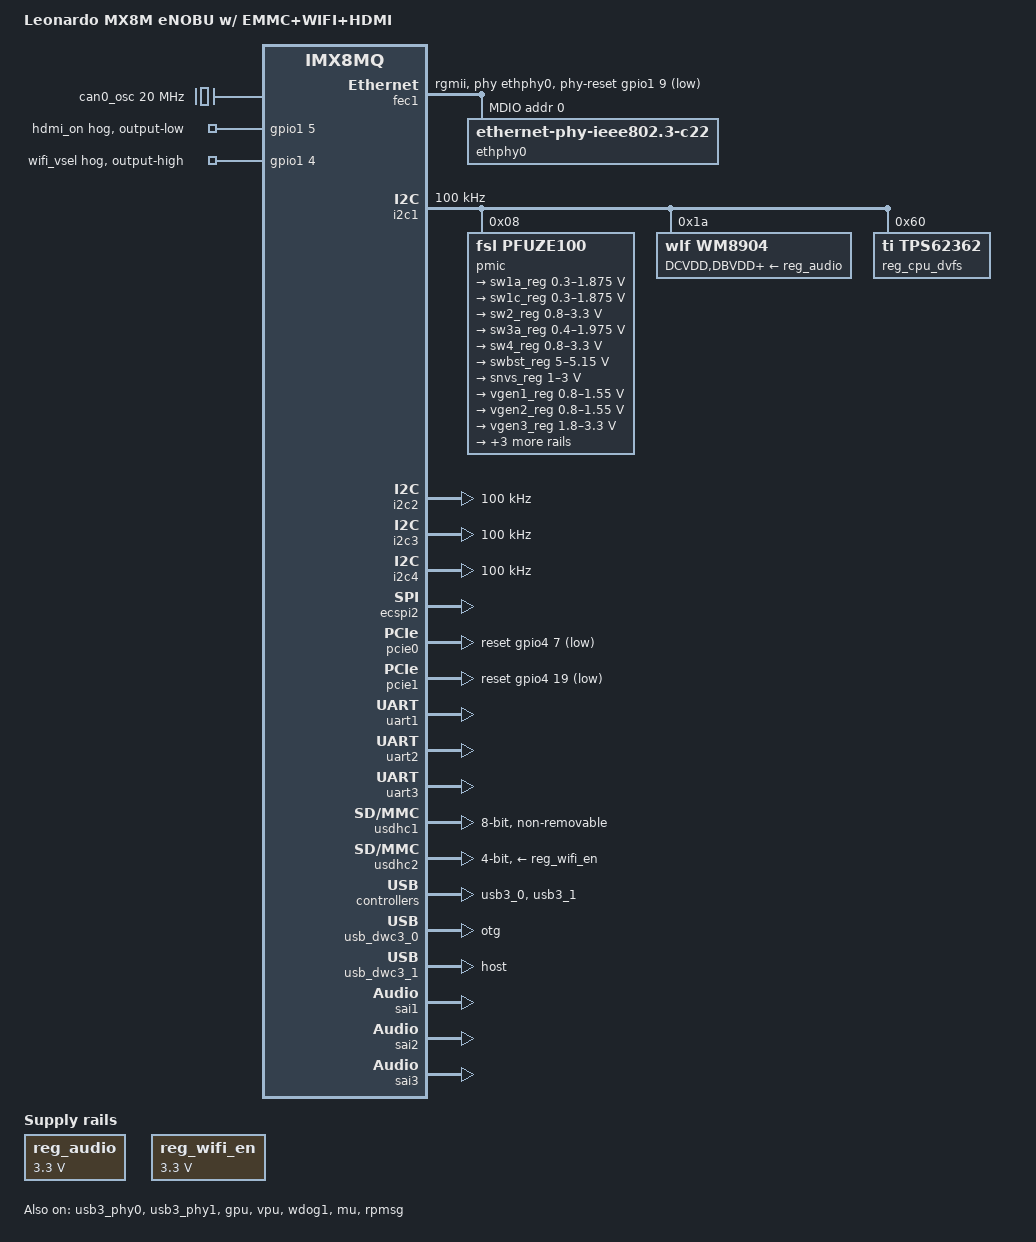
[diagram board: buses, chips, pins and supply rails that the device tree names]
/*
 * Copyright 2017 NXP
 * Copyright 2018-2019 Variscite Ltd.
 *
 * This program is free software; you can redistribute it and/or
 * modify it under the terms of the GNU General Public License
 * as published by the Free Software Foundation; either version 2
 * of the License, or (at your option) any later version.
 *
 * This program is distributed in the hope that it will be useful,
 * but WITHOUT ANY WARRANTY; without even the implied warranty of
 * MERCHANTABILITY or FITNESS FOR A PARTICULAR PURPOSE.  See the
 * GNU General Public License for more details.
 */

/dts-v1/;

#include "fsl-imx8mq.dtsi"

/ {
	model = "Leonardo MX8M eNOBU w/ EMMC+WIFI+HDMI";
	compatible = "leonardo,imx8m-enobu", "fsl,imx8mq";

	chosen {
		bootargs = "console=ttymxc0,115200 earlycon=ec_imx6q,0x30860000,115200";
		stdout-path = &uart1;
	};

	regulators {
		compatible = "simple-bus";
		#address-cells = <1>;
		#size-cells = <0>;

		reg_audio: audio_vdd {
			compatible = "regulator-fixed";
			regulator-name = "wm8904_supply";
			regulator-min-microvolt = <3300000>;
			regulator-max-microvolt = <3300000>;
			regulator-always-on;
		};

		reg_wifi_en: wifi_en {
			compatible = "regulator-fixed";
			regulator-name = "WIFI_REG_ON";
			regulator-min-microvolt = <3300000>;
			regulator-max-microvolt = <3300000>;
		};
	};

        /* CFPX-180 quartz crystal */
	can0_osc: can0_osc {
		compatible = "fixed-clock";
		#clock-cells = <0>;
		clock-frequency = <20000000>;
	};

	sound-wm8904 {
		compatible = "fsl,imx-audio-wm8904";
		model = "imx-wm8904";
		audio-cpu = <&sai3>;
		audio-codec = <&wm8904>;
		audio-routing =
			"Headphone Jack", "HPOUTL",
			"Headphone Jack", "HPOUTR",
			"IN2L", "Line In Jack",
			"IN2R", "Line In Jack",
			"IN1L", "Mic Jack",
			"Playback", "CPU-Playback",
			"CPU-Capture", "Capture";
		status = "okay";
	};

	sound-hdmi {
		compatible = "fsl,imx8mq-evk-cdnhdmi",
				"fsl,imx-audio-cdnhdmi";
		model = "imx-audio-hdmi";
		audio-cpu = <&sai4>;
		protocol = <1>;
		hdmi-out;
		constraint-rate = <44100>,
				<88200>,
				<176400>,
				<32000>,
				<48000>,
				<96000>,
				<192000>;
		status = "disabled";
	};
};



&clk {
	assigned-clocks = <&clk IMX8MQ_AUDIO_PLL1>;
	assigned-clock-rates = <786432000>;
};



&iomuxc {
	pinctrl-names = "default";

	imx8m-enobu {

		pinctrl_fec1: fec1grp {
			fsl,pins = <
				MX8MQ_IOMUXC_ENET_MDC_ENET1_MDC			0x3
				MX8MQ_IOMUXC_ENET_MDIO_ENET1_MDIO		0x23
				MX8MQ_IOMUXC_ENET_TD3_ENET1_RGMII_TD3		0x1f
				MX8MQ_IOMUXC_ENET_TD2_ENET1_RGMII_TD2		0x1f
				MX8MQ_IOMUXC_ENET_TD1_ENET1_RGMII_TD1		0x1f
				MX8MQ_IOMUXC_ENET_TD0_ENET1_RGMII_TD0		0x1f
				MX8MQ_IOMUXC_ENET_RD3_ENET1_RGMII_RD3		0x91
				MX8MQ_IOMUXC_ENET_RD2_ENET1_RGMII_RD2		0x91
				MX8MQ_IOMUXC_ENET_RD1_ENET1_RGMII_RD1		0x91
				MX8MQ_IOMUXC_ENET_RD0_ENET1_RGMII_RD0		0x91
				MX8MQ_IOMUXC_ENET_TXC_ENET1_RGMII_TXC		0x1f
				MX8MQ_IOMUXC_ENET_RXC_ENET1_RGMII_RXC		0x91
				MX8MQ_IOMUXC_ENET_RX_CTL_ENET1_RGMII_RX_CTL	0x91
				MX8MQ_IOMUXC_ENET_TX_CTL_ENET1_RGMII_TX_CTL	0x1f
				MX8MQ_IOMUXC_SAI5_RXD3_GPIO3_IO24		0x19
			>;
		};

                /* internal to SOM */
		pinctrl_i2c1: i2c1grp {
			fsl,pins = <
				MX8MQ_IOMUXC_I2C1_SCL_I2C1_SCL			0x4000007f
				MX8MQ_IOMUXC_I2C1_SDA_I2C1_SDA			0x4000007f
			>;
		};

                /* all other devices */
		pinctrl_i2c2: i2c2grp {
			fsl,pins = <
				MX8MQ_IOMUXC_I2C2_SCL_I2C2_SCL			0x4000007f
				MX8MQ_IOMUXC_I2C2_SDA_I2C2_SDA			0x4000007f
			>;
		};

                /* NOT used actually */
		pinctrl_i2c3: i2c3grp {
			fsl,pins = <
				MX8MQ_IOMUXC_I2C3_SCL_I2C3_SCL			0x4000007f
				MX8MQ_IOMUXC_I2C3_SDA_I2C3_SDA			0x4000007f
			>;
		};

                /* FPGA dedicated I2C */
		pinctrl_i2c4: i2c4grp {
			fsl,pins = <
				MX8MQ_IOMUXC_I2C4_SCL_I2C4_SCL			0x4000007f
				MX8MQ_IOMUXC_I2C4_SDA_I2C4_SDA			0x4000007f
			>;
		};

                /* to CAN controller */
                pinctrl_ecspi2: ecspi2grp {
                        fsl,pins = <
                                MX8MQ_IOMUXC_ECSPI2_MISO_ECSPI2_MISO 		0x13      
                                MX8MQ_IOMUXC_ECSPI2_MOSI_ECSPI2_MOSI 		0x13      
                                MX8MQ_IOMUXC_ECSPI2_SCLK_ECSPI2_SCLK 		0x13      
                                MX8MQ_IOMUXC_ECSPI2_SS0_GPIO5_IO13       	0x13    /* ESPI2_SS0      */   
                                MX8MQ_IOMUXC_SD2_CD_B_GPIO2_IO12         	0x13    /* ESPI2_STBY_CAN */
                                MX8MQ_IOMUXC_SAI5_MCLK_GPIO3_IO25               0x13    /* SPI_INT        */
                    >;
                };

		pinctrl_hdmi: hdmigrp {
			fsl,pins = <
				MX8MQ_IOMUXC_SAI1_TXD4_GPIO4_IO16		0xc1    /* HDMI_I2C_EN (?) */
			>;
		};

		pinctrl_wdog: wdoggrp {
			fsl,pins = <
				MX8MQ_IOMUXC_GPIO1_IO02_WDOG1_WDOG_B 		0xc6
			>;
		};

                pinctrl_audiopw: audiopwgrp {
                        fsl,pins = <
                                MX8MQ_IOMUXC_SAI5_RXD0_GPIO3_IO21               0x00000016  /* AUDIOPOW_WARN (?)  */
                                MX8MQ_IOMUXC_SAI5_RXD2_GPIO3_IO23               0x00000016  /* AUDIOPOW_FAULT (?) */
                                MX8MQ_IOMUXC_SAI5_RXC_GPIO3_IO20                0x00000016  /* AUDIOPOW_MUTE (?)  */
                                MX8MQ_IOMUXC_SAI5_RXD1_GPIO3_IO22               0x00001816  /* AUDIOPOW_STBY (?)  */
                        >;
                };

                pinctrl_fpga: fpgagrp {
                        fsl,pins = <
                                MX8MQ_IOMUXC_SD2_RESET_B_GPIO2_IO19             0x00000016  /* FPGA_INITN (?) */
                        >;
                };

                pinctrl_spifpga: spifpgagrp {
                        fsl,pins = <
                                MX8MQ_IOMUXC_NAND_DATA01_GPIO3_IO7              0x00000016  /* FPGA_SPI_O (?) */
                                MX8MQ_IOMUXC_NAND_DATA00_GPIO3_IO6              0x00000016  /* FPGA_SPI_I (?) */
                                MX8MQ_IOMUXC_NAND_CE0_B_GPIO3_IO1               0x00000016  /* FPGA_SPI_CS (?) */
                                MX8MQ_IOMUXC_NAND_ALE_GPIO3_IO0                 0x00000016  /* FPGA_SPI_CLK (?) */
                        >;
                };

                /* Linux Console */
		pinctrl_uart1: uart1grp {
			fsl,pins = <
				MX8MQ_IOMUXC_UART1_RXD_UART1_DCE_RX		0x49
				MX8MQ_IOMUXC_UART1_TXD_UART1_DCE_TX		0x49
			>;
		};

                /* Header */
		pinctrl_uart2: uart2grp {
			fsl,pins = <
				MX8MQ_IOMUXC_UART2_RXD_UART2_DCE_RX		0x49
				MX8MQ_IOMUXC_UART2_TXD_UART2_DCE_TX		0x49
                                MX8MQ_IOMUXC_UART4_RXD_UART2_DCE_CTS_B          0x00000016  /* (?) */
                                MX8MQ_IOMUXC_UART4_TXD_UART2_DCE_RTS_B          0x00000016  /* (?) */
			>;
		};

                /* Header */
		pinctrl_uart3: uart3grp {
			fsl,pins = <
				MX8MQ_IOMUXC_UART3_RXD_UART3_DCE_RX		0x49
				MX8MQ_IOMUXC_UART3_TXD_UART3_DCE_TX		0x49
                                MX8MQ_IOMUXC_ECSPI1_MISO_UART3_DCE_CTS_B        0x00000016
                                MX8MQ_IOMUXC_ECSPI1_SS0_UART3_DCE_RTS_B         0x00000016
			>;
		};

                /* eMMC */
		pinctrl_usdhc1: usdhc1grp {
			fsl,pins = <
				MX8MQ_IOMUXC_SD1_CLK_USDHC1_CLK			0x83
				MX8MQ_IOMUXC_SD1_CMD_USDHC1_CMD			0xc3
				MX8MQ_IOMUXC_SD1_DATA0_USDHC1_DATA0		0xc3
				MX8MQ_IOMUXC_SD1_DATA1_USDHC1_DATA1		0xc3
				MX8MQ_IOMUXC_SD1_DATA2_USDHC1_DATA2		0xc3
				MX8MQ_IOMUXC_SD1_DATA3_USDHC1_DATA3		0xc3
				MX8MQ_IOMUXC_SD1_DATA4_USDHC1_DATA4		0xc3
				MX8MQ_IOMUXC_SD1_DATA5_USDHC1_DATA5		0xc3
				MX8MQ_IOMUXC_SD1_DATA6_USDHC1_DATA6		0xc3
				MX8MQ_IOMUXC_SD1_DATA7_USDHC1_DATA7		0xc3
				MX8MQ_IOMUXC_SD1_STROBE_USDHC1_STROBE		0x83
				MX8MQ_IOMUXC_SD1_RESET_B_USDHC1_RESET_B		0xc1
			>;
		};

		pinctrl_usdhc1_100mhz: usdhc1grp100mhz {
			fsl,pins = <
				MX8MQ_IOMUXC_SD1_CLK_USDHC1_CLK			0x8d
				MX8MQ_IOMUXC_SD1_CMD_USDHC1_CMD			0xcd
				MX8MQ_IOMUXC_SD1_DATA0_USDHC1_DATA0		0xcd
				MX8MQ_IOMUXC_SD1_DATA1_USDHC1_DATA1		0xcd
				MX8MQ_IOMUXC_SD1_DATA2_USDHC1_DATA2		0xcd
				MX8MQ_IOMUXC_SD1_DATA3_USDHC1_DATA3		0xcd
				MX8MQ_IOMUXC_SD1_DATA4_USDHC1_DATA4		0xcd
				MX8MQ_IOMUXC_SD1_DATA5_USDHC1_DATA5		0xcd
				MX8MQ_IOMUXC_SD1_DATA6_USDHC1_DATA6		0xcd
				MX8MQ_IOMUXC_SD1_DATA7_USDHC1_DATA7		0xcd
				MX8MQ_IOMUXC_SD1_STROBE_USDHC1_STROBE		0x8d
				MX8MQ_IOMUXC_SD1_RESET_B_USDHC1_RESET_B		0xc1
			>;
		};

		pinctrl_usdhc1_200mhz: usdhc1grp200mhz {
			fsl,pins = <
				MX8MQ_IOMUXC_SD1_CLK_USDHC1_CLK			0x9f
				MX8MQ_IOMUXC_SD1_CMD_USDHC1_CMD			0xdf
				MX8MQ_IOMUXC_SD1_DATA0_USDHC1_DATA0		0xdf
				MX8MQ_IOMUXC_SD1_DATA1_USDHC1_DATA1		0xdf
				MX8MQ_IOMUXC_SD1_DATA2_USDHC1_DATA2		0xdf
				MX8MQ_IOMUXC_SD1_DATA3_USDHC1_DATA3		0xdf
				MX8MQ_IOMUXC_SD1_DATA4_USDHC1_DATA4		0xdf
				MX8MQ_IOMUXC_SD1_DATA5_USDHC1_DATA5		0xdf
				MX8MQ_IOMUXC_SD1_DATA6_USDHC1_DATA6		0xdf
				MX8MQ_IOMUXC_SD1_DATA7_USDHC1_DATA7		0xdf
				MX8MQ_IOMUXC_SD1_STROBE_USDHC1_STROBE		0x9f
				MX8MQ_IOMUXC_SD1_RESET_B_USDHC1_RESET_B		0xc1
			>;
		};

                /* Wifi SDIO on eNOBU - shared between WiFi/uSD  */
		pinctrl_usdhc2: usdhc2grp {
			fsl,pins = <
				MX8MQ_IOMUXC_SD2_CLK_USDHC2_CLK			0x83
				MX8MQ_IOMUXC_SD2_CMD_USDHC2_CMD			0xc3
				MX8MQ_IOMUXC_SD2_DATA0_USDHC2_DATA0		0xc3
				MX8MQ_IOMUXC_SD2_DATA1_USDHC2_DATA1		0xc3
				MX8MQ_IOMUXC_SD2_DATA2_USDHC2_DATA2		0xc3
				MX8MQ_IOMUXC_SD2_DATA3_USDHC2_DATA3		0xc3
			>;
		};

		pinctrl_usdhc2_100mhz: usdhc2grp100mhz {
			fsl,pins = <
				MX8MQ_IOMUXC_SD2_CLK_USDHC2_CLK			0x8d
				MX8MQ_IOMUXC_SD2_CMD_USDHC2_CMD			0xcd
				MX8MQ_IOMUXC_SD2_DATA0_USDHC2_DATA0		0xcd
				MX8MQ_IOMUXC_SD2_DATA1_USDHC2_DATA1		0xcd
				MX8MQ_IOMUXC_SD2_DATA2_USDHC2_DATA2		0xcd
				MX8MQ_IOMUXC_SD2_DATA3_USDHC2_DATA3		0xcd
			>;
		};

		pinctrl_usdhc2_200mhz: usdhc2grp200mhz {
			fsl,pins = <
				MX8MQ_IOMUXC_SD2_CLK_USDHC2_CLK			0x9f
				MX8MQ_IOMUXC_SD2_CMD_USDHC2_CMD			0xdf
				MX8MQ_IOMUXC_SD2_DATA0_USDHC2_DATA0		0xdf
				MX8MQ_IOMUXC_SD2_DATA1_USDHC2_DATA1		0xdf
				MX8MQ_IOMUXC_SD2_DATA2_USDHC2_DATA2		0xdf
				MX8MQ_IOMUXC_SD2_DATA3_USDHC2_DATA3		0xdf
			>;
		};

                pinctrl_sai1: sai1grp {
                        fsl,pins = <
                                MX8MQ_IOMUXC_SAI1_MCLK_SAI1_MCLK                0xd6
                                MX8MQ_IOMUXC_SAI1_TXC_SAI1_TX_BCLK              0xd6
                                MX8MQ_IOMUXC_SAI1_TXD0_SAI1_TX_DATA0            0xd6
                                MX8MQ_IOMUXC_SAI1_TXD1_SAI1_TX_DATA1            0xd6
                                MX8MQ_IOMUXC_SAI1_TXFS_SAI1_TX_SYNC             0xd6
                        >;
                };

                pinctrl_sai2: sai2grp {
                        fsl,pins = <
                                MX8MQ_IOMUXC_SAI2_MCLK_SAI2_MCLK                0xd6
                                MX8MQ_IOMUXC_SAI2_RXC_SAI2_RX_BCLK              0xd6
                                MX8MQ_IOMUXC_SAI2_RXD0_SAI2_RX_DATA0            0xd6
                                MX8MQ_IOMUXC_SAI2_RXFS_SAI2_RX_SYNC             0xd6
                                MX8MQ_IOMUXC_SAI2_TXC_SAI2_TX_BCLK              0xd6
                                MX8MQ_IOMUXC_SAI2_TXD0_SAI2_TX_DATA0            0xd6
                                MX8MQ_IOMUXC_SAI2_TXFS_SAI2_TX_SYNC             0xd6
                        >;
                };

                /* WM8904 audio serial (on SOM) */
		pinctrl_sai3: sai3grp {
			fsl,pins = <
				MX8MQ_IOMUXC_SAI3_RXFS_SAI3_RX_SYNC		0xd6
				MX8MQ_IOMUXC_SAI3_RXC_SAI3_RX_BCLK		0xd6
				MX8MQ_IOMUXC_SAI3_RXD_SAI3_RX_DATA0		0xd6
				MX8MQ_IOMUXC_SAI3_TXFS_SAI3_TX_SYNC		0xd6
				MX8MQ_IOMUXC_SAI3_TXC_SAI3_TX_BCLK		0xd6
				MX8MQ_IOMUXC_SAI3_TXD_SAI3_TX_DATA0		0xd6
				MX8MQ_IOMUXC_SAI3_MCLK_SAI3_MCLK		0xd6
			>;
		};

		pinctrl_wifi: wifigrp {
			fsl,pins = <
				MX8MQ_IOMUXC_GPIO1_IO04_GPIO1_IO4		0xc1	/* WIFI_PWR_VSEL */
				MX8MQ_IOMUXC_GPIO1_IO08_GPIO1_IO8		0xc1	/* WIFI_PWR_ON   */
				MX8MQ_IOMUXC_NAND_CE1_B_GPIO3_IO2		0xc1	/* WIFI_REG_ON   */
				MX8MQ_IOMUXC_GPIO1_IO00_ANAMIX_REF_CLK_32K	0xc1	/* WIFI_CLK_32K  */
				MX8MQ_IOMUXC_NAND_CE3_B_GPIO3_IO4		0xc1	/* BT_REG_ON     */
				MX8MQ_IOMUXC_SPDIF_EXT_CLK_GPIO5_IO5		0xc1	/* BT_BUF_EN     */
			>;
		};

                /* present but disabled by default */
		pinctrl_lvds: lvdsgrp {
			fsl,pins = <
				MX8MQ_IOMUXC_GPIO1_IO11_GPIO1_IO11		0x16
			>;
		};
	};
};



/* Set WIFI SDIO voltage at 1.8V */
&gpio1 {
	pinctrl-names = "default";
	pinctrl-0 = <&pinctrl_hdmi>;

	hdmi_on_hog {
		gpio-hog;
		gpios = <5 0>;
		output-low;
		line-name = "hdmi_on";
	};

	wifi_vsel_hog {
		gpio-hog;
		gpios = <4 0>;
		output-high;
		line-name = "wifi_vsel";
	};
};

&fec1 {
	pinctrl-names = "default";
	pinctrl-0 = <&pinctrl_fec1>;
	phy-mode = "rgmii";
	phy-handle = <&ethphy0>;
	fsl,magic-packet;
	status = "okay";
	phy-reset-gpios = <&gpio1 9 GPIO_ACTIVE_LOW>;
	phy-reset-duration = <10>;

	mdio {
		#address-cells = <1>;
		#size-cells = <0>;

		ethphy0: ethernet-phy@0 {
			compatible = "ethernet-phy-ieee802.3-c22";
			reg = <0>;
			at803x,led-act-blind-workaround;
			at803x,eee-disabled;
		};
	};
};

&i2c1 {
	clock-frequency = <100000>;
	pinctrl-names = "default";
	pinctrl-0 = <&pinctrl_i2c1>;
	status = "okay";

	pmic: pfuze100@08 {
		compatible = "fsl,pfuze100";
		reg = <0x08>;

		regulators {
			sw1a_reg: sw1ab {
				regulator-min-microvolt = <300000>;
				regulator-max-microvolt = <1875000>;
			};

			sw1c_reg: sw1c {
				regulator-min-microvolt = <300000>;
				regulator-max-microvolt = <1875000>;
			};

			sw2_reg: sw2 {
				regulator-min-microvolt = <800000>;
				regulator-max-microvolt = <3300000>;
				regulator-always-on;
			};

			sw3a_reg: sw3ab {
				regulator-min-microvolt = <400000>;
				regulator-max-microvolt = <1975000>;
				regulator-always-on;
			};

			sw4_reg: sw4 {
				regulator-min-microvolt = <800000>;
				regulator-max-microvolt = <3300000>;
				regulator-always-on;
			};

			swbst_reg: swbst {
				regulator-min-microvolt = <5000000>;
				regulator-max-microvolt = <5150000>;
			};

			snvs_reg: vsnvs {
				regulator-min-microvolt = <1000000>;
				regulator-max-microvolt = <3000000>;
				regulator-always-on;
			};

			vref_reg: vrefddr {
				regulator-always-on;
			};

			vgen1_reg: vgen1 {
				regulator-min-microvolt = <800000>;
				regulator-max-microvolt = <1550000>;
			};

			vgen2_reg: vgen2 {
				regulator-min-microvolt = <800000>;
				regulator-max-microvolt = <1550000>;
				regulator-always-on;
			};

			vgen3_reg: vgen3 {
				regulator-min-microvolt = <1800000>;
				regulator-max-microvolt = <3300000>;
				regulator-always-on;
			};

			vgen4_reg: vgen4 {
				regulator-min-microvolt = <1800000>;
				regulator-max-microvolt = <3300000>;
				regulator-always-on;
			};

			vgen5_reg: vgen5 {
				regulator-min-microvolt = <1800000>;
				regulator-max-microvolt = <3300000>;
				regulator-always-on;
			};

			vgen6_reg: vgen6 {
				regulator-min-microvolt = <1800000>;
				regulator-max-microvolt = <3300000>;
			};
		};
	};

	wm8904: codec@1a {
		compatible = "wlf,wm8904";
		reg = <0x1a>;
		clocks = <&clk IMX8MQ_CLK_SAI3_ROOT>;
		clock-names = "mclk";
		DCVDD-supply = <&reg_audio>;
		DBVDD-supply = <&reg_audio>;
		AVDD-supply = <&reg_audio>;
		CPVDD-supply = <&reg_audio>;
		MICVDD-supply = <&reg_audio>;
		gpio-cfg = <
			0x0018 /* GPIO1 => DMIC_CLK */
			0xffff /* GPIO2 => don't touch */
			0xffff /* GPIO3 => don't touch */
			0xffff /* GPIO4 => don't touch */
		>;
		status = "okay";
	};

	dsi_lvds_bridge: sn65dsi84@2c {
		compatible = "ti,sn65dsi83";
		reg = <0x2c>;
		ti,dsi-lanes = <4>;
		ti,lvds-format = <1>;
		ti,lvds-bpp = <24>;
		ti,width-mm = <154>;
		ti,height-mm = <87>;
		enable-gpios = <&gpio1 11 GPIO_ACTIVE_HIGH>;
		pinctrl-names = "default";
		pinctrl-0 = <&pinctrl_lvds>;
		status = "disabled";

		display-timings {
			lvds {
				clock-frequency = <33000000>;
				hactive = <800>;
				vactive = <480>;
				hback-porch = <40>;
				hfront-porch = <40>;
				vback-porch = <29>;
				vfront-porch = <13>;
				hsync-len = <48>;
				vsync-len = <3>;
				hsync-active = <0>;
				vsync-active = <0>;
				de-active = <1>;
				pixelclk-active = <0>;
			};
		};

		port {
			sn65dsi84_in: endpoint {
				remote-endpoint = <&mipi_dsi_bridge_out>;
			};
		};
	};

	reg_cpu_dvfs: tps62361@60 {
		reg = <0x60>;
		compatible = "ti,tps62362";
		regulator-min-microvolt = <900000>;
		regulator-max-microvolt = <1000000>;
		regulator-name = "arm-supply";
		regulator-boot-on;
		regulator-always-on;
		ti,enable-force-pwm;
	};
};

&i2c2 {
	clock-frequency = <100000>;
	pinctrl-names = "default";
	pinctrl-0 = <&pinctrl_i2c2>;
	status = "okay";

        /* TODO popolare con

           - RTC8564   real time clock
           - USB5744T  usb hub
           - TPS2388   poe pse controller
           - TAS6424   power codec
           - IIS2DHTR  accelerometro e magnetometro
           - M24512    eeprom
           
         */
};

&i2c3 {
	clock-frequency = <100000>;
	pinctrl-names = "default";
	pinctrl-0 = <&pinctrl_i2c3>;
	status = "okay";
};

/* FPGA */
&i2c4 {
	clock-frequency = <100000>;
	pinctrl-names = "default";
	pinctrl-0 = <&pinctrl_i2c4>;
	status = "okay";

        /* TODO popolare con

           - LCMXO   fpga
           
         */
};

&ecspi2 {
	pinctrl-names = "default";
	pinctrl-0 = <&pinctrl_ecspi2>;
	cs-gpios = <&gpio5  13 GPIO_ACTIVE_HIGH>;
	fsl,spi-num-chipselects = <1>;
	status = "okay";

        /* TODO popolare con

           - MPC25625   External CAN controller
        
        */
};

/* PCIe Switch x4 ports */
&pcie0 {
	pinctrl-names = "default";
	pinctrl-0 = <&pinctrl_pcie0>;
	reset-gpio = <&gpio4 7 GPIO_ACTIVE_LOW>;
	ext_osc = <1>;
	status = "okay";
};

/* M.2 Module 1 */
&pcie1 {
	pinctrl-names = "default";
	pinctrl-0 = <&pinctrl_pcie1>;
	reset-gpio = <&gpio4 19 GPIO_ACTIVE_LOW>;
	ext_osc = <1>;
	status = "okay";
};


/* Console */
&uart1 {
	pinctrl-names = "default";
	pinctrl-0 = <&pinctrl_uart1>;
	assigned-clocks = <&clk IMX8MQ_CLK_UART1>;
	assigned-clock-parents = <&clk IMX8MQ_CLK_25M>;
	status = "okay";
};

/* Header */
&uart2 {
	pinctrl-names = "default";
	pinctrl-0 = <&pinctrl_uart2>;
	assigned-clocks = <&clk IMX8MQ_CLK_UART2>;
	assigned-clock-parents = <&clk IMX8MQ_CLK_25M>;
	status = "okay";
};

/* Header */
&uart3 {
	pinctrl-names = "default";
	pinctrl-0 = <&pinctrl_uart3>;
	assigned-clocks = <&clk IMX8MQ_CLK_UART3>;
	assigned-clock-parents = <&clk IMX8MQ_CLK_25M>;
	status = "okay";
};

/* Bluetooth */
&uart4 {
	pinctrl-names = "default";
	pinctrl-0 = <&pinctrl_uart4>;
	assigned-clocks = <&clk IMX8MQ_CLK_UART4>;
	assigned-clock-parents = <&clk IMX8MQ_SYS1_PLL_80M>;
	fsl,uart-has-rtscts;
	status = "disabled";
};

/* eMMC */
&usdhc1 {
	pinctrl-names = "default", "state_100mhz", "state_200mhz";
	pinctrl-0 = <&pinctrl_usdhc1>;
	pinctrl-1 = <&pinctrl_usdhc1_100mhz>;
	pinctrl-2 = <&pinctrl_usdhc1_200mhz>;
	bus-width = <8>;
	non-removable;
	status = "okay";
};

/* Wifi */
&usdhc2 {
	pinctrl-names = "default", "state_100mhz", "state_200mhz";
	pinctrl-0 = <&pinctrl_usdhc2>, <&pinctrl_wifi>;
	pinctrl-1 = <&pinctrl_usdhc2_100mhz>, <&pinctrl_wifi>;
	pinctrl-2 = <&pinctrl_usdhc2_200mhz>, <&pinctrl_wifi>;
	bus-width = <4>;
	vmmc-supply = <&reg_wifi_en>;
	status = "okay";
};



&usb3_phy0 {
	status = "okay";
};

&usb3_0 {
	status = "okay";
};

&usb_dwc3_0 {
	status = "okay";
	extcon = <&typec_ptn5150>;
	dr_mode = "otg";
};




&usb3_phy1 {
	status = "okay";
};

&usb3_1 {
	status = "okay";
};

&usb_dwc3_1 {
	status = "okay";
	dr_mode = "host";
};



/* TAS6424 power codec */
&sai1 {
	pinctrl-names = "default";
	pinctrl-0 = <&pinctrl_sai1>;
	assigned-clocks = <&clk IMX8MQ_CLK_SAI1>;
	assigned-clock-parents = <&clk IMX8MQ_AUDIO_PLL1_OUT>;
	assigned-clock-rates = <1536000>;
	status = "okay";
};

/* LCMXO FPGA aux audio channel */
&sai2 {
	pinctrl-names = "default";
	pinctrl-0 = <&pinctrl_sai2>;
	assigned-clocks = <&clk IMX8MQ_CLK_SAI2>;
	assigned-clock-parents = <&clk IMX8MQ_AUDIO_PLL1_OUT>;
	assigned-clock-rates = <1536000>;
	status = "okay";
};

/* WM8904 audio */
&sai3 {
	pinctrl-names = "default";
	pinctrl-0 = <&pinctrl_sai3>;
	assigned-clocks = <&clk IMX8MQ_CLK_SAI3>;
	assigned-clock-parents = <&clk IMX8MQ_AUDIO_PLL1_OUT>;
	assigned-clock-rates = <1536000>;
	status = "okay";
};

/* HDMI audio out */
&sai4 {
	assigned-clocks = <&clk IMX8MQ_CLK_SAI4>;
	assigned-clock-parents = <&clk IMX8MQ_AUDIO_PLL1_OUT>;
	assigned-clock-rates = <24576000>;
	status = "disabled";
};

&gpu_pd {
	power-supply = <&sw1a_reg>;
};

&vpu_pd {
	power-supply = <&sw1c_reg>;
};

&gpu {
	status = "okay";
};

&vpu {
	status = "okay";
};

&wdog1 {
	pinctrl-names = "default";
	pinctrl-0 = <&pinctrl_wdog>;
	fsl,ext-reset-output;
	status = "okay";
};

&mu {
	status = "okay";
};

&resmem {
	/* cma region is provided by kernel command line as cma=<size>MB */
	/delete-node/ linux,cma;
};

&rpmsg{
	/*
	 * 64K for one rpmsg instance:
	 * --0xb8000000~0xb800ffff: pingpong
	 */
	vdev-nums = <1>;
	reg = <0x0 0xb8000000 0x0 0x10000>;
	status = "okay";
};

&A53_0 {
	operating-points = <
		/* kHz    uV */
		1500000 1000000
		1300000 1000000
		1000000 900000
		800000  900000
	>;
	dc-supply = <&reg_cpu_dvfs>;
};

&snvs_rtc {
	status = "disabled";
};

